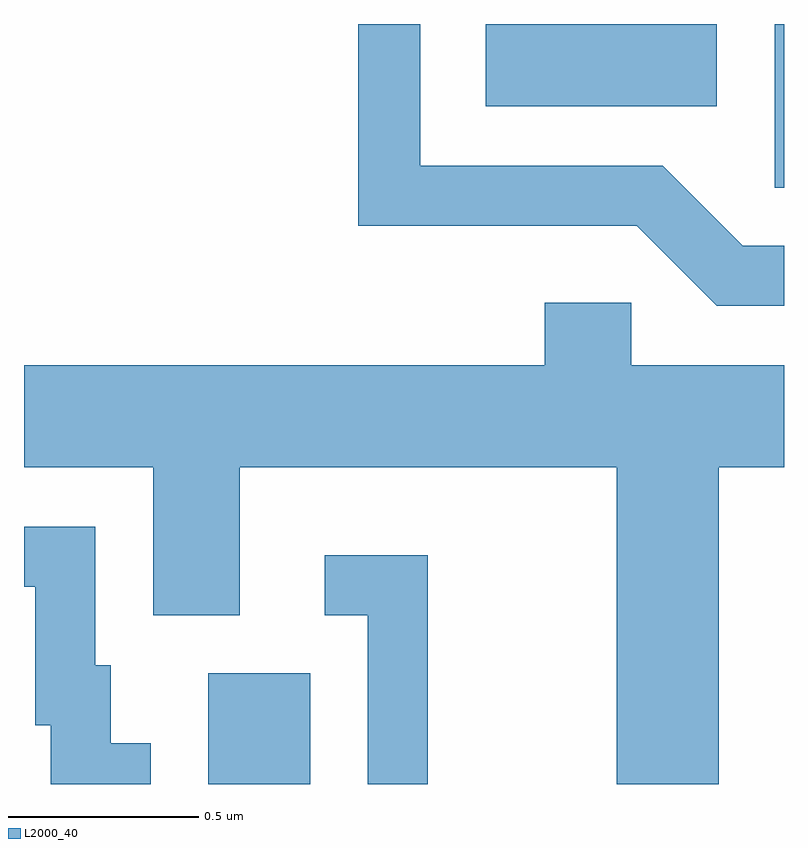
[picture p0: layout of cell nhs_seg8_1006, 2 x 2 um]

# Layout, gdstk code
import gdstk
lib = gdstk.Library(unit=1e-6, precision=1e-09)
def R(c, l, rs):  # rectangles x0, y0, x1, y1
    for r in rs: c.add(gdstk.rectangle(r[:2], r[2:], *l))
def P(c, l, *ps):  # polygons
    for p in ps: c.add(gdstk.Polygon(p, *l))
L2000_40 = (2000, 40)

nhs_seg8_1006 = lib.new_cell('nhs_seg8_1006')
R(nhs_seg8_1006, L2000_40, [(193.096,1853.342,193.364,1853.634), (194.586,1854.911,194.611,1855.342), (193.826,1855.126,194.434,1855.342)])
P(nhs_seg8_1006, L2000_40, [(194.611,1854.759),(194.502,1854.759),(194.292,1854.969),(193.654,1854.969),(193.654,1855.342),(193.491,1855.342),(193.491,1854.811),(194.224,1854.811),(194.434,1854.601),(194.611,1854.601)],
  [(194.439,1854.176),(194.611,1854.176),(194.611,1854.444),(194.209,1854.444),(194.209,1854.609),(193.981,1854.609),(193.981,1854.444),(192.611,1854.444),(192.611,1854.176),(192.951,1854.176),(192.951,1853.786),(193.179,1853.786),(193.179,1854.176),(194.171,1854.176),(194.171,1853.342),(194.439,1853.342)],
  [(192.944,1853.449),(192.839,1853.449),(192.839,1853.654),(192.799,1853.654),(192.799,1854.019),(192.611,1854.019),(192.611,1853.861),(192.641,1853.861),(192.641,1853.496),(192.681,1853.496),(192.681,1853.342),(192.944,1853.342)],
  [(193.674,1853.944),(193.403,1853.944),(193.403,1853.786),(193.516,1853.786),(193.516,1853.342),(193.674,1853.342)])

lib.write_gds('nhs_seg8_1006.gds')
